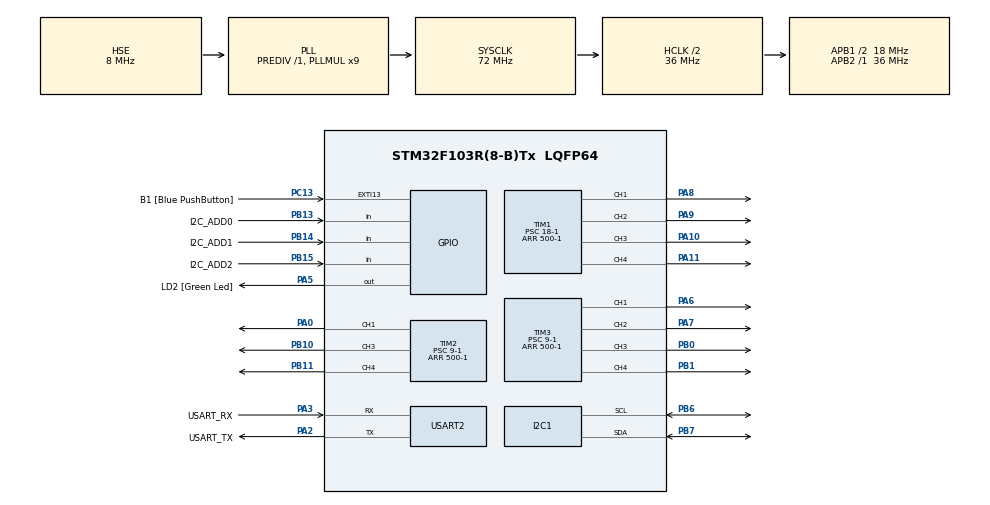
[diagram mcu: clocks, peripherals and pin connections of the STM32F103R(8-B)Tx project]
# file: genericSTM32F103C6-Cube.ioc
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I2C1.AddressingMode=I2C_ADDRESSINGMODE_7BIT
I2C1.DualAddressMode=I2C_DUALADDRESS_DISABLE
I2C1.GeneralCallMode=I2C_GENERALCALL_DISABLE
I2C1.I2C_Mode=I2C_Standard
I2C1.OwnAddress=i2c_readAddress() << 1
Mcu.Family=STM32F1
Mcu.Name=STM32F103R(8-B)Tx
Mcu.Package=LQFP64
NVIC.EXTI15_10_IRQn=true\:0\:0\:false\:false\:true\:true\:true\:true
NVIC.I2C1_ER_IRQn=true\:0\:0\:false\:false\:true\:true\:true\:true
NVIC.I2C1_EV_IRQn=true\:0\:0\:false\:false\:true\:true\:true\:true
NVIC.PriorityGroup=NVIC_PRIORITYGROUP_4
NVIC.TIM2_IRQn=true\:0\:0\:false\:false\:true\:true\:true\:true
NVIC.TIM3_IRQn=true\:0\:0\:false\:false\:true\:true\:true\:true
PA0-WKUP.Signal=S_TIM2_CH1_ETR
PA10.Signal=S_TIM1_CH3
PA11.Signal=S_TIM1_CH4
PA13.GPIO_Label=TMS
PA13.Mode=Serial_Wire
PA13.Signal=SYS_JTMS-SWDIO
PA14.GPIO_Label=TCK
PA14.Mode=Serial_Wire
PA14.Signal=SYS_JTCK-SWCLK
PA2.GPIO_Label=USART_TX
PA2.GPIO_Mode=GPIO_MODE_AF_PP
PA2.GPIO_PuPd=GPIO_NOPULL
PA2.GPIO_Speed=GPIO_SPEED_FREQ_LOW
PA2.Mode=Asynchronous
PA2.Signal=USART2_TX
PA3.GPIO_Label=USART_RX
PA3.GPIO_Mode=GPIO_MODE_AF_PP
PA3.GPIO_PuPd=GPIO_NOPULL
PA3.GPIO_Speed=GPIO_SPEED_FREQ_LOW
PA3.Mode=Asynchronous
PA3.Signal=USART2_RX
PA5.GPIO_Label=LD2 [Green Led]
PA5.GPIO_ModeDefaultOutputPP=GPIO_MODE_OUTPUT_PP
PA5.GPIO_PuPd=GPIO_NOPULL
PA5.GPIO_Speed=GPIO_SPEED_FREQ_LOW
PA5.Signal=GPIO_Output
PA6.Signal=S_TIM3_CH1
PA7.Signal=S_TIM3_CH2
PA8.Signal=S_TIM1_CH1
PA9.Signal=S_TIM1_CH2
PB0.Signal=S_TIM3_CH3
PB1.Signal=S_TIM3_CH4
PB10.Signal=S_TIM2_CH3
PB11.Signal=S_TIM2_CH4
PB13.GPIO_Label=I2C_ADD0
PB13.GPIO_PuPd=GPIO_PULLUP
PB13.Signal=GPIO_Input
PB14.GPIO_Label=I2C_ADD1
PB14.GPIO_PuPd=GPIO_PULLUP
PB14.Signal=GPIO_Input
PB15.GPIO_Label=I2C_ADD2
PB15.GPIO_PuPd=GPIO_PULLUP
PB15.Signal=GPIO_Input
PB3.GPIO_Label=SWO
PB3.Signal=SYS_JTDO-TRACESWO
PB6.Mode=I2C
PB6.Signal=I2C1_SCL
PB7.Mode=I2C
PB7.Signal=I2C1_SDA
PC13-TAMPER-RTC.GPIO_Label=B1 [Blue PushButton]
PC13-TAMPER-RTC.GPIO_PuPd=GPIO_NOPULL
PC13-TAMPER-RTC.Signal=GPXTI13
PC14-OSC32_IN.Mode=LSE-External-Oscillator
PC14-OSC32_IN.Signal=RCC_OSC32_IN
PC15-OSC32_OUT.Mode=LSE-External-Oscillator
PC15-OSC32_OUT.Signal=RCC_OSC32_OUT
PD0-OSC_IN.Mode=HSE-External-Oscillator
PD0-OSC_IN.Signal=RCC_OSC_IN
PD1-OSC_OUT.Mode=HSE-External-Oscillator
PD1-OSC_OUT.Signal=RCC_OSC_OUT
ProjectManager.HeapSize=0x600
ProjectManager.StackSize=0x400
ProjectManager.TargetToolchain=Makefile
RCC.AHBCLKDivider=RCC_SYSCLK_DIV2
RCC.AHBFreq_Value=36000000
RCC.APB1CLKDivider=RCC_HCLK_DIV2
RCC.APB1Freq_Value=18000000
RCC.APB1TimFreq_Value=36000000
RCC.APB2Freq_Value=36000000
RCC.APB2TimFreq_Value=36000000
RCC.HCLKFreq_Value=36000000
RCC.PLLMUL=RCC_PLL_MUL9
RCC.PLLSourceVirtual=RCC_PLLSOURCE_HSE
RCC.RTCClockSelection=RCC_RTCCLKSOURCE_LSE
RCC.SYSCLKFreq_VALUE=72000000
RCC.SYSCLKSource=RCC_SYSCLKSOURCE_PLLCLK
RCC.USBFreq_Value=48000000
RCC.USBPrescaler=RCC_USBCLKSOURCE_PLL_DIV1_5
SH.S_TIM1_CH1.0=TIM1_CH1,PWM Generation1 CH1
SH.S_TIM1_CH2.0=TIM1_CH2,PWM Generation2 CH2
SH.S_TIM1_CH3.0=TIM1_CH3,PWM Generation3 CH3
SH.S_TIM1_CH4.0=TIM1_CH4,PWM Generation4 CH4
SH.S_TIM2_CH1_ETR.0=TIM2_CH1,PWM Generation1 CH1
SH.S_TIM2_CH3.0=TIM2_CH3,PWM Generation3 CH3
SH.S_TIM2_CH4.0=TIM2_CH4,PWM Generation4 CH4
SH.S_TIM3_CH1.0=TIM3_CH1,PWM Generation1 CH1
SH.S_TIM3_CH2.0=TIM3_CH2,PWM Generation2 CH2
SH.S_TIM3_CH3.0=TIM3_CH3,PWM Generation3 CH3
SH.S_TIM3_CH4.0=TIM3_CH4,PWM Generation4 CH4
TIM1.Channel-PWM\ Generation1\ CH1=TIM_CHANNEL_1
TIM1.Channel-PWM\ Generation2\ CH2=TIM_CHANNEL_2
TIM1.Channel-PWM\ Generation3\ CH3=TIM_CHANNEL_3
TIM1.Channel-PWM\ Generation4\ CH4=TIM_CHANNEL_4
TIM1.Period=500-1
TIM1.Prescaler=18-1
TIM2.AutoReloadPreload=TIM_AUTORELOAD_PRELOAD_ENABLE
TIM2.Channel-PWM\ Generation1\ CH1=TIM_CHANNEL_1
TIM2.Channel-PWM\ Generation3\ CH3=TIM_CHANNEL_3
TIM2.Channel-PWM\ Generation4\ CH4=TIM_CHANNEL_4
TIM2.Period=500-1
TIM2.Prescaler=9-1
TIM3.AutoReloadPreload=TIM_AUTORELOAD_PRELOAD_ENABLE
TIM3.Channel-PWM\ Generation1\ CH1=TIM_CHANNEL_1
TIM3.Channel-PWM\ Generation2\ CH2=TIM_CHANNEL_2
TIM3.Channel-PWM\ Generation3\ CH3=TIM_CHANNEL_3
TIM3.Channel-PWM\ Generation4\ CH4=TIM_CHANNEL_4
TIM3.Period=500-1
TIM3.Prescaler=9-1
USART2.VirtualMode=VM_ASYNC
VP_TIM1_VS_ClockSourceINT.Mode=Internal
VP_TIM2_VS_ClockSourceINT.Mode=Internal
VP_TIM3_VS_ClockSourceINT.Mode=Internal
board=NUCLEO-F103RB

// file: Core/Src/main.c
/* USER CODE BEGIN Header */
/**
 ******************************************************************************
 * @file           : main.c
 * @brief          : Main program body
 ******************************************************************************
 * @attention
 *
 * Copyright (c) 2024 STMicroelectronics.
 * All rights reserved.
 *
 * This software is licensed under terms that can be found in the LICENSE file
 * in the root directory of this software component.
 * If no LICENSE file comes with this software, it is provided AS-IS.
 *
 ******************************************************************************
 */
/* USER CODE END Header */
#include "main.h"

#include "gpio.h"
#include "i2c.h"
#include "tim.h"
#include "usart.h"

/* USER CODE BEGIN Includes */
#include <stdarg.h>
#include <stdio.h>
#include <stdlib.h>
#include <string.h>

#include "i2c_slave.h"
/* USER CODE END Includes */

/* USER CODE BEGIN PTD */
#define UART_TX_BUFFER_SIZE 256
/* USER CODE END PTD */

void SystemClock_Config(void);

/* USER CODE BEGIN 0 */
void test(int num) {
  while (i2c_available()) {
    UART_Transmit("%d\n", i2c_read());
  }
}
/* USER CODE END 0 */

int main(void) {

  /* MCU Configuration--------------------------------------------------------*/

  /* Reset of all peripherals, Initializes the Flash interface and the Systick.
   */
  HAL_Init();

  /* Configure the system clock */
  SystemClock_Config();

  /* Initialize all configured peripherals */
  MX_GPIO_Init();
  MX_I2C1_Init();
  MX_TIM2_Init();
  MX_TIM3_Init();
  MX_USART2_UART_Init();
  MX_TIM1_Init();
  /* USER CODE BEGIN 2 */
  // Start i2c irq
  i2c_begin();
  i2c_setOnReceive(test);

  HAL_TIM_PWM_Start(&htim1, TIM_CHANNEL_1);
  HAL_TIM_PWM_Start(&htim1, TIM_CHANNEL_2);
  HAL_TIM_PWM_Start(&htim1, TIM_CHANNEL_3);
  HAL_TIM_PWM_Start(&htim1, TIM_CHANNEL_4);

  HAL_TIM_PWM_Start(&htim2, TIM_CHANNEL_1);
  HAL_TIM_PWM_Start(&htim2, TIM_CHANNEL_3);
  HAL_TIM_PWM_Start(&htim2, TIM_CHANNEL_4);

  HAL_TIM_PWM_Start(&htim3, TIM_CHANNEL_1);
  HAL_TIM_PWM_Start(&htim3, TIM_CHANNEL_2);
  HAL_TIM_PWM_Start(&htim3, TIM_CHANNEL_3);
  HAL_TIM_PWM_Start(&htim3, TIM_CHANNEL_4);

  TIM1->CCR1 = 250;
  TIM1->CCR2 = 250;
  TIM1->CCR3 = 250;
  TIM1->CCR4 = 250;

  TIM2->CCR1 = 250;
  TIM2->CCR3 = 250;
  TIM2->CCR4 = 250;

  TIM3->CCR1 = 250;
  TIM3->CCR2 = 250;
  TIM3->CCR3 = 250;
  TIM3->CCR4 = 250;
  /* USER CODE END 2 */

  /* Infinite loop */
  /* USER CODE BEGIN WHILE */
  while (1) {
    if (i2c_available()) {
      UART_Transmit("%c", i2c_read());
    }
    UART_Transmit("Hello World\n");
    HAL_Delay(1000);
    /* USER CODE END WHILE */

  }
}

void SystemClock_Config(void) {
  RCC_OscInitTypeDef RCC_OscInitStruct = {0};
  RCC_ClkInitTypeDef RCC_ClkInitStruct = {0};

  /** Initializes the RCC Oscillators according to the specified parameters
   * in the RCC_OscInitTypeDef structure.
   */
  RCC_OscInitStruct.OscillatorType = RCC_OSCILLATORTYPE_HSE;
  RCC_OscInitStruct.HSEState = RCC_HSE_ON;
  RCC_OscInitStruct.HSEPredivValue = RCC_HSE_PREDIV_DIV1;
  RCC_OscInitStruct.HSIState = RCC_HSI_ON;
  RCC_OscInitStruct.PLL.PLLState = RCC_PLL_ON;
  RCC_OscInitStruct.PLL.PLLSource = RCC_PLLSOURCE_HSE;
  RCC_OscInitStruct.PLL.PLLMUL = RCC_PLL_MUL9;
  if (HAL_RCC_OscConfig(&RCC_OscInitStruct) != HAL_OK) {
    Error_Handler();
  }

  /** Initializes the CPU, AHB and APB buses clocks
   */
  RCC_ClkInitStruct.ClockType = RCC_CLOCKTYPE_HCLK | RCC_CLOCKTYPE_SYSCLK |
                                RCC_CLOCKTYPE_PCLK1 | RCC_CLOCKTYPE_PCLK2;
  RCC_ClkInitStruct.SYSCLKSource = RCC_SYSCLKSOURCE_PLLCLK;
  RCC_ClkInitStruct.AHBCLKDivider = RCC_SYSCLK_DIV2;
  RCC_ClkInitStruct.APB1CLKDivider = RCC_HCLK_DIV2;
  RCC_ClkInitStruct.APB2CLKDivider = RCC_HCLK_DIV1;

  if (HAL_RCC_ClockConfig(&RCC_ClkInitStruct, FLASH_LATENCY_2) != HAL_OK) {
    Error_Handler();
  }
}

/* USER CODE BEGIN 4 */
void UART_Transmit(const char *format, ...) {
  char buffer[UART_TX_BUFFER_SIZE];
  va_list args;

  va_start(args, format);
  int len = vsnprintf(buffer, UART_TX_BUFFER_SIZE, format, args);
  va_end(args);

  if (len < 0) return;
  else if (len >= UART_TX_BUFFER_SIZE) {
    char *dyn_buffer = (char *)malloc(len + 1);
    if (dyn_buffer == NULL) return;

    va_start(args, format);
    vsnprintf(dyn_buffer, len + 1, format, args);
    va_end(args);
    HAL_UART_Transmit(&huart2, (uint8_t *)dyn_buffer, len, 200);
    free(dyn_buffer);
  } else {
    HAL_UART_Transmit(&huart2, (uint8_t *)buffer, len, 200);
  }
}

/* USER CODE END 4 */

void Error_Handler(void) {
  __disable_irq();
  while (1) {
  }
}

#ifdef USE_FULL_ASSERT
/**
 * @brief  Reports the name of the source file and the source line number
 *         where the assert_param error has occurred.
 * @param  file: pointer to the source file name
 * @param  line: assert_param error line source number
 * @retval None
 */
void assert_failed(uint8_t *file, uint32_t line) {
  /* USER CODE BEGIN 6 */
  /* User can add his own implementation to report the file name and line
     number, ex: printf("Wrong parameters value: file %s on line %d\r\n", file,
     line) */
  /* USER CODE END 6 */
}
#endif /* USE_FULL_ASSERT */
